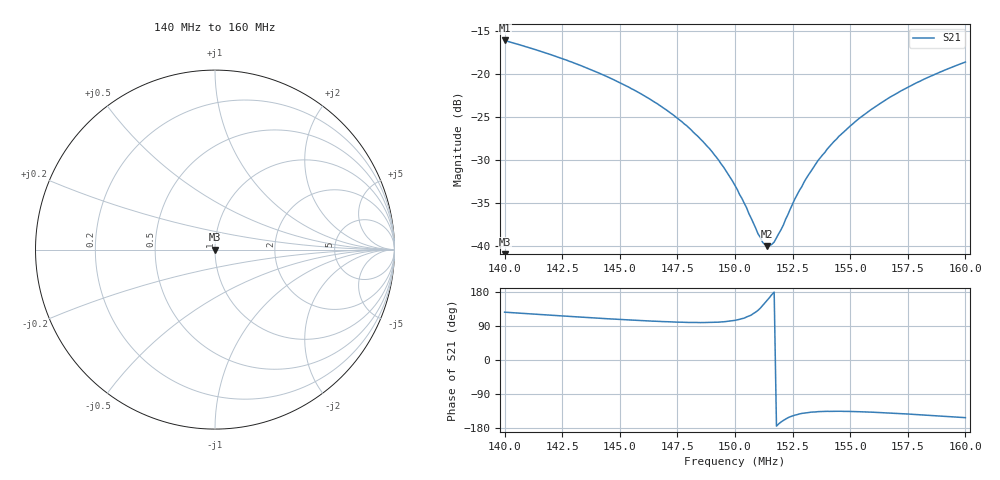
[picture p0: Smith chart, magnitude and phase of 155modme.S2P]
!Agilent Technologies,E5072A,MY51200456,A.01.14
!Date: Tue Nov 19 12:28:30 2019
!Data & Calibration Information:
!Freq	S11:NONE(--)	S21:NONE(--)	S12:NONE(--)	S22:NONE(--)
!PortZ  Port1:50+j0  Port2:50+j0
!Above PortZ is port z conversion or system Z0 setting when saving the data.
!When reading, reference impedance value at option line is always used.
# Hz S RI R 50
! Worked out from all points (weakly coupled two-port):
!   201 points, 140 MHz to 160 MHz, reference 50 ohm
!   highest |S21| = -16.06 dB at 140 MHz (marker M1); lowest = -40.1 dB at 151.4 MHz (marker M2)
!   lowest |S11| = - dB at 140 MHz (marker M3), VSWR 1.00, Z = 50 + j0 ohm
!   |S11| at or under -10 dB: start of sweep to end of sweep
!   S12 and S22 are empty: the file has one direction only
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1.4e8  0 0  -0.0929 0.127  0 0  0 0
1.434e8  0 0  -0.0432 0.1022  0 0  0 0
1.452e8  0 0  -0.0245 0.083  0 0  0 0
1.467e8  0 0  -0.0135 0.0648  0 0  0 0
1.479e8  0 0  -0.00804 0.0495  0 0  0 0
1.486e8  0 0  -0.00635 0.0401  0 0  0 0
1.493e8  0 0  -0.00539 0.0309  0 0  0 0
1.5e8  0 0  -0.00566 0.0217  0 0  0 0
1.505e8  0 0  -0.00665 0.0153  0 0  0 0
1.51e8  0 0  -0.0077 0.00883  0 0  0 0
1.512e8  0 0  -0.00843 0.00618  0 0  0 0
1.514e8  0 0  -0.00919 0.00374  0 0  0 0
1.517e8  0 0  -0.0105 0.000184  0 0  0 0
1.521e8  0 0  -0.0123 -0.00464  0 0  0 0
1.526e8  0 0  -0.0154 -0.0106  0 0  0 0
1.534e8  0 0  -0.021 -0.0193  0 0  0 0
1.54e8  0 0  -0.026 -0.0256  0 0  0 0
1.545e8  0 0  -0.0307 -0.0305  0 0  0 0
1.554e8  0 0  -0.0402 -0.0381  0 0  0 0
1.567e8  0 0  -0.0559 -0.047  0 0  0 0
1.582e8  0 0  -0.0766 -0.0535  0 0  0 0
1.6e8  0 0  -0.1041 -0.055  0 0  0 0
